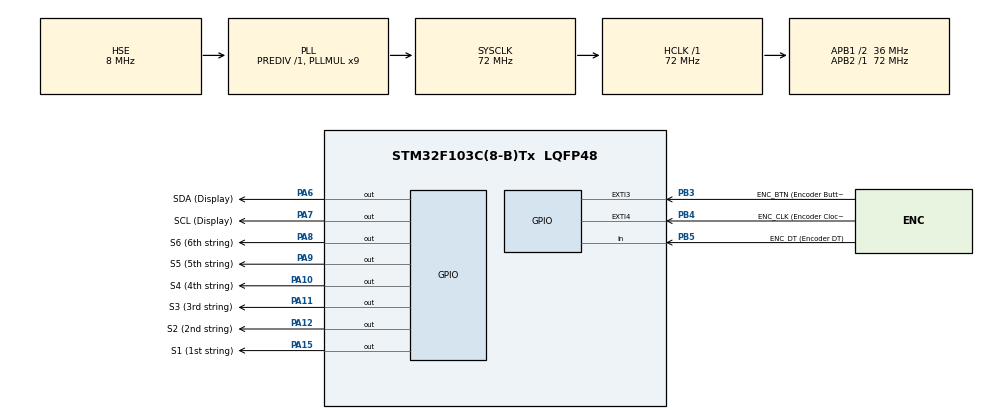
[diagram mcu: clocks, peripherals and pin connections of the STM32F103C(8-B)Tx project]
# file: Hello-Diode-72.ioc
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Mcu.Family=STM32F1
Mcu.Name=STM32F103C(8-B)Tx
Mcu.Package=LQFP48
NVIC.EXTI3_IRQn=true\:0\:0\:false\:false\:true\:true\:true
NVIC.EXTI4_IRQn=true\:0\:0\:false\:false\:true\:true\:true
NVIC.PriorityGroup=NVIC_PRIORITYGROUP_4
NVIC.TIM2_IRQn=true\:0\:0\:false\:false\:true\:true\:true
PA10.GPIO_Label=S4 (4th string)
PA10.Signal=GPIO_Output
PA11.GPIO_Label=S3 (3rd string)
PA11.Signal=GPIO_Output
PA12.GPIO_Label=S2 (2nd string)
PA12.Signal=GPIO_Output
PA15.GPIO_Label=S1 (1st string)
PA15.Signal=GPIO_Output
PA6.GPIO_Label=SDA (Display)
PA6.Signal=GPIO_Output
PA7.GPIO_Label=SCL (Display)
PA7.Signal=GPIO_Output
PA8.GPIO_Label=S6 (6th string)
PA8.Signal=GPIO_Output
PA9.GPIO_Label=S5 (5th string)
PA9.Signal=GPIO_Output
PB3.GPIO_Label=ENC_BTN (Encoder Button)
PB3.GPIO_ModeDefaultEXTI=GPIO_MODE_IT_RISING_FALLING
PB3.Signal=GPXTI3
PB4.GPIO_Label=ENC_CLK (Encoder Clock))
PB4.GPIO_ModeDefaultEXTI=GPIO_MODE_IT_FALLING
PB4.Signal=GPXTI4
PB5.GPIO_Label=ENC_DT (Encoder DT)
PB5.Signal=GPIO_Input
PD0-OSC_IN.Mode=HSE-External-Oscillator
PD0-OSC_IN.Signal=RCC_OSC_IN
PD1-OSC_OUT.Mode=HSE-External-Oscillator
PD1-OSC_OUT.Signal=RCC_OSC_OUT
ProjectManager.HeapSize=0x200
ProjectManager.StackSize=0x400
ProjectManager.TargetToolchain=Other Toolchains (GPDSC)
RCC.AHBFreq_Value=72000000
RCC.APB1CLKDivider=RCC_HCLK_DIV2
RCC.APB1Freq_Value=36000000
RCC.APB1TimFreq_Value=72000000
RCC.APB2Freq_Value=72000000
RCC.APB2TimFreq_Value=72000000
RCC.HCLKFreq_Value=72000000
RCC.PLLMUL=RCC_PLL_MUL9
RCC.PLLSourceVirtual=RCC_PLLSOURCE_HSE
RCC.SYSCLKFreq_VALUE=72000000
RCC.SYSCLKSource=RCC_SYSCLKSOURCE_PLLCLK
RCC.USBFreq_Value=72000000
TIM2.AutoReloadPreload=TIM_AUTORELOAD_PRELOAD_ENABLE
TIM2.Prescaler=0
VP_SYS_VS_ND.Mode=No_Debug
VP_TIM2_VS_ClockSourceINT.Mode=Internal
board=custom

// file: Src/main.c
/* USER CODE BEGIN Header */
/**
  ******************************************************************************
  * @file           : main.c
  * @brief          : Main program body
  ******************************************************************************
  * @attention
  *
  * <h2><center>&copy; Copyright (c) 2021 STMicroelectronics.
  * All rights reserved.</center></h2>
  *
  * This software component is licensed by ST under BSD 3-Clause license,
  * the "License"; You may not use this file except in compliance with the
  * License. You may obtain a copy of the License at:
  *                        opensource.org/licenses/BSD-3-Clause
  *
  ******************************************************************************
  */
/* USER CODE END Header */
#include "main.h"
#include "tim.h"
#include "gpio.h"

/* USER CODE BEGIN PD */

#define TICK_FREQ_D 72000000.

/* USER CODE END PD */

/* USER CODE BEGIN PV */

volatile int last_dt = 0;
volatile int position = 0;
volatile uint8_t btn_is_pressed = 0, btn_was_pressed = 0;
double tunings[1][6] = {
  { 82.41, 110., 146.83, 196., 246.94, 329.63 } // E Major
};

typedef struct {
  uint32_t pause_ticks;
  uint32_t light_ticks;
} tick_delay;

volatile tick_delay diode_tick_delays[6];

/* USER CODE END PV */

void SystemClock_Config(void);

/* USER CODE BEGIN 0 */

// === Functions for tuning frequencies & delays

void setupDiodeTickDelays(double* tuning) {
  for (size_t i = 0; i < 6; i ++) {
    uint32_t total_ticks = (uint32_t) (TICK_FREQ_D / tuning[i]);
    diode_tick_delays[i].light_ticks = total_ticks / 10;
    diode_tick_delays[i].pause_ticks = total_ticks - diode_tick_delays[i].light_ticks;
  }
}

// === Functions for timers

volatile uint8_t tim2UpdateInterruptFlag = 0;
void tim2_32BitDelay(uint32_t delay_ticks) {
  uint16_t tim2_st = __HAL_TIM_GET_COUNTER(&htim2);
  uint16_t ticksUntilInterr = 0xFFFF - tim2_st;

  if (delay_ticks < ((uint32_t) ticksUntilInterr)) {
    while (((uint16_t) (__HAL_TIM_GET_COUNTER(&htim2) - tim2_st)) < delay_ticks) {}
    return;
  }

  delay_ticks -= ticksUntilInterr;
  tim2UpdateInterruptFlag = 0;
  while (!tim2UpdateInterruptFlag) {}

  while (delay_ticks > 0xFFFF) {
    delay_ticks -= 0xFFFF;
    tim2UpdateInterruptFlag = 0;
    while (!tim2UpdateInterruptFlag) {}
  }

  while (((uint16_t) __HAL_TIM_GET_COUNTER(&htim2)) < delay_ticks) {}
}

// === Interrupt Handlers

void HAL_GPIO_EXTI_Callback(uint16_t GPIO_Pin) {
  if (GPIO_Pin == ENC_BTN_Pin) {
    static uint32_t enc_btn_last_it_tick;
    if (HAL_GetTick() - enc_btn_last_it_tick < 50) return;
    enc_btn_last_it_tick = HAL_GetTick();
    btn_is_pressed = !btn_is_pressed;
    if (btn_is_pressed) btn_was_pressed = 1;
    HAL_GPIO_TogglePin(S1_GPIO_Port, S1_Pin);
  }
  if (GPIO_Pin == ENC_CLK_Pin) {
    static uint32_t enc_clk_last_it_tick;
    GPIO_PinState dt = HAL_GPIO_ReadPin(ENC_DT_GPIO_Port, ENC_DT_Pin);
    if (HAL_GetTick() - enc_clk_last_it_tick < 50) return;
    if (HAL_GetTick() - enc_clk_last_it_tick < 150 && dt != last_dt) return;
    enc_clk_last_it_tick = HAL_GetTick();
    position += (dt == GPIO_PIN_RESET) ? 1 : -1;
    last_dt = dt;
    HAL_GPIO_WritePin(S2_GPIO_Port, S2_Pin, position & 1);
    HAL_GPIO_WritePin(S3_GPIO_Port, S3_Pin, (position >> 1) & 1);
    HAL_GPIO_WritePin(S4_GPIO_Port, S4_Pin, (position >> 2) & 1);
    HAL_GPIO_WritePin(S5_GPIO_Port, S5_Pin, (position >> 3) & 1);
    HAL_GPIO_WritePin(S6_GPIO_Port, S6_Pin, (position >> 4) & 1);
  }
}

void HAL_TIM_PeriodElapsedCallback(TIM_HandleTypeDef *htim) {
  if (htim->Instance == TIM2) {
    tim2UpdateInterruptFlag = 1;
  }
}

/* USER CODE END 0 */

int main(void)
{

  /* MCU Configuration--------------------------------------------------------*/

  /* Reset of all peripherals, Initializes the Flash interface and the Systick. */
  HAL_Init();

  /* Configure the system clock */
  SystemClock_Config();

  /* Initialize all configured peripherals */
  MX_GPIO_Init();
  MX_TIM2_Init();
  /* USER CODE BEGIN 2 */

  // === setup timers

  HAL_TIM_Base_Start_IT(&htim2);

  // === setup all pins

  HAL_Delay(10);  // blink C13 for restart confirmation
  HAL_GPIO_WritePin(GPIOC, GPIO_PIN_13, GPIO_PIN_SET);

  // reset all diodes
  HAL_GPIO_WritePin(S1_GPIO_Port, S1_Pin, GPIO_PIN_RESET);
  HAL_GPIO_WritePin(S2_GPIO_Port, S2_Pin, GPIO_PIN_RESET);
  HAL_GPIO_WritePin(S3_GPIO_Port, S3_Pin, GPIO_PIN_RESET);
  HAL_GPIO_WritePin(S4_GPIO_Port, S4_Pin, GPIO_PIN_RESET);
  HAL_GPIO_WritePin(S5_GPIO_Port, S5_Pin, GPIO_PIN_RESET);
  HAL_GPIO_WritePin(S6_GPIO_Port, S6_Pin, GPIO_PIN_RESET);

  // === setup initial string frequencies

  setupDiodeTickDelays(tunings[0]);

  /* USER CODE END 2 */

  /* Infinite loop */
  /* USER CODE BEGIN WHILE */

  while(1) {__asm("nop");}

  uint32_t delays[6];
  uint32_t lighted[6] = {0, 0, 0, 0, 0, 0};
  for (uint8_t i = 0; i < 6; i++) {
    delays[i] = diode_tick_delays[i].pause_ticks;
  }

  uint32_t min;
  uint8_t minind;
  uint16_t pin_num;
  uint32_t delay_dt = __HAL_TIM_GET_COUNTER(&htim2);
  while(1) {
    min = delays[0]; minind = 0;
    for (uint8_t i = 1; i < 6; i++) {
      if (delays[i] < min) {
        min = delays[i];
        minind = i;
      }
    }

    if (minind == 0) pin_num = GPIO_PIN_8;
    else if (minind == 1) pin_num = GPIO_PIN_9;
    else if (minind == 2) pin_num = GPIO_PIN_10;
    else if (minind == 3) pin_num = GPIO_PIN_11;
    else if (minind == 4) pin_num = GPIO_PIN_12;
    else pin_num = GPIO_PIN_15;

    delay_dt = __HAL_TIM_GET_COUNTER(&htim2) - delay_dt;
    if (delay_dt < min) tim2_32BitDelay(min - delay_dt);
    delay_dt = __HAL_TIM_GET_COUNTER(&htim2);

    for (uint8_t i = 0; i < 6; i++) {
      delays[i] -= min;
    }

    if (lighted[minind]) {
      HAL_GPIO_WritePin(GPIOA, pin_num, GPIO_PIN_RESET);
      delays[minind] = diode_tick_delays[minind].pause_ticks;
    } else {
      HAL_GPIO_WritePin(GPIOA, pin_num, GPIO_PIN_SET);
      delays[minind] = diode_tick_delays[minind].light_ticks;
    }

    lighted[minind] = !lighted[minind];

    /* USER CODE END WHILE */

  }
}

void SystemClock_Config(void)
{
  RCC_OscInitTypeDef RCC_OscInitStruct = {0};
  RCC_ClkInitTypeDef RCC_ClkInitStruct = {0};

  /** Initializes the RCC Oscillators according to the specified parameters
  * in the RCC_OscInitTypeDef structure.
  */
  RCC_OscInitStruct.OscillatorType = RCC_OSCILLATORTYPE_HSE;
  RCC_OscInitStruct.HSEState = RCC_HSE_ON;
  RCC_OscInitStruct.HSEPredivValue = RCC_HSE_PREDIV_DIV1;
  RCC_OscInitStruct.HSIState = RCC_HSI_ON;
  RCC_OscInitStruct.PLL.PLLState = RCC_PLL_ON;
  RCC_OscInitStruct.PLL.PLLSource = RCC_PLLSOURCE_HSE;
  RCC_OscInitStruct.PLL.PLLMUL = RCC_PLL_MUL9;
  if (HAL_RCC_OscConfig(&RCC_OscInitStruct) != HAL_OK)
  {
    Error_Handler();
  }
  /** Initializes the CPU, AHB and APB buses clocks
  */
  RCC_ClkInitStruct.ClockType = RCC_CLOCKTYPE_HCLK|RCC_CLOCKTYPE_SYSCLK
                              |RCC_CLOCKTYPE_PCLK1|RCC_CLOCKTYPE_PCLK2;
  RCC_ClkInitStruct.SYSCLKSource = RCC_SYSCLKSOURCE_PLLCLK;
  RCC_ClkInitStruct.AHBCLKDivider = RCC_SYSCLK_DIV1;
  RCC_ClkInitStruct.APB1CLKDivider = RCC_HCLK_DIV2;
  RCC_ClkInitStruct.APB2CLKDivider = RCC_HCLK_DIV1;

  if (HAL_RCC_ClockConfig(&RCC_ClkInitStruct, FLASH_LATENCY_2) != HAL_OK)
  {
    Error_Handler();
  }
}

void Error_Handler(void)
{
  __disable_irq();
  while (1)
  {
  }
}

/************************ (C) COPYRIGHT STMicroelectronics *****END OF FILE****/
